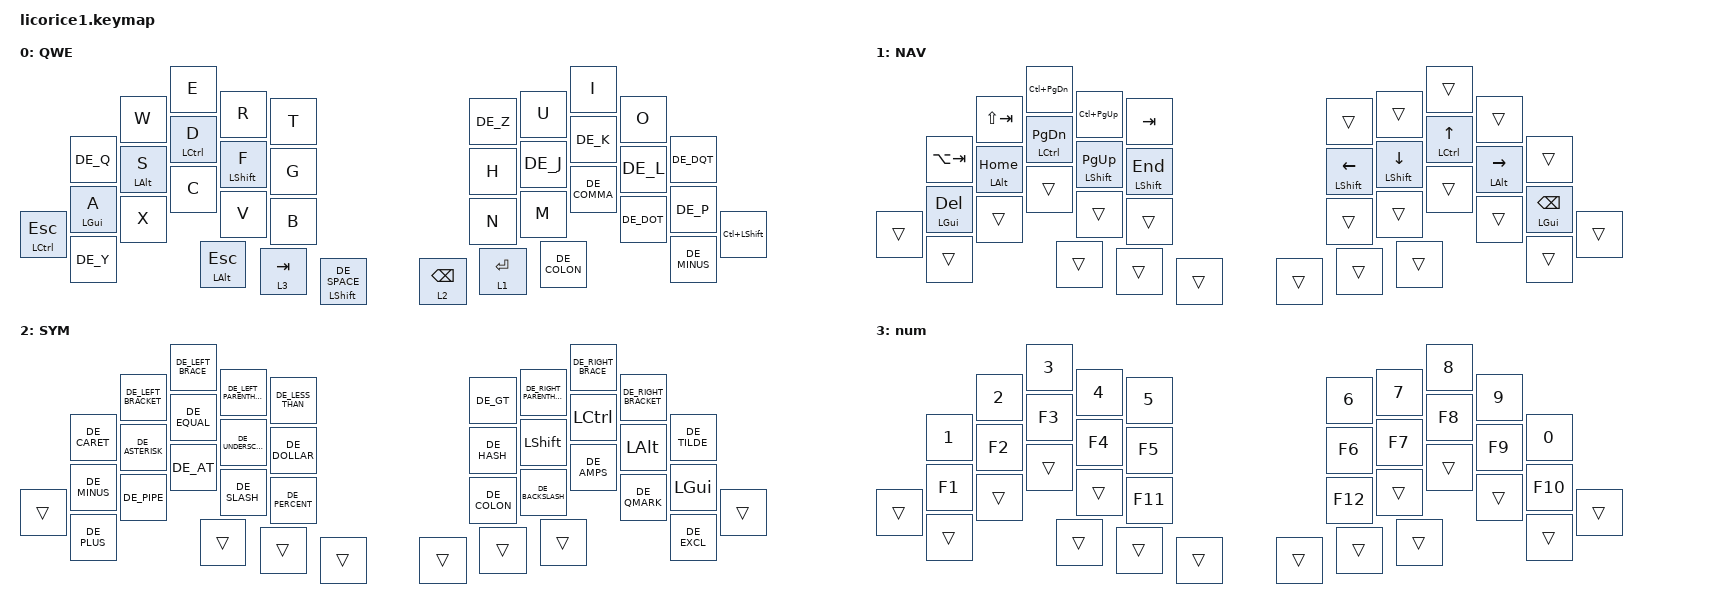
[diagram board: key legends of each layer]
// This file was generated from a template. Edit it to match your keyboard. test test
// See https://zmk.dev/docs/development/hardware-integration/new-shield for more instructions.

#include "keys_de.h"
#include <behaviors.dtsi>
#include <dt-bindings/zmk/bt.h>
#include <dt-bindings/zmk/keys.h>
#include <dt-bindings/zmk/outputs.h>
#include <dt-bindings/zmk/pointing.h>

&mt {
    flavor = "tap-preferred";
    bindings = <&kp>, <&kp>;

    tapping-term-ms = <250>;
    quick-tap-ms = <150>;
    require-prior-idle-ms = <125>;
};

&lt {
    quick-tap-ms = <200>;
    tapping-term-ms = <250>;
};

/ {
    // Define a default keymap here.
    // See https://zmk.dev/docs/development/hardware-integration/new-shield#default-keymap.

    combos {
        compatible = "zmk,combos";

        ae {
            bindings = <&kp DE_A_UMLAUT>;
            key-positions = <10 2>;
        };

        ue {
            bindings = <&kp DE_U_UMLAUT>;
            key-positions = <6 2>;
        };

        oe {
            bindings = <&kp DE_O_UMLAUT>;
            key-positions = <8 2>;
        };

        esc {
            bindings = <&kp ESCAPE>;
            key-positions = <20 31>;
        };

        boot {
            bindings = <&bootloader>;
            key-positions = <4 5 34 35>;
            require-prior-idle-ms = <500>;
        };

        colon {
            bindings = <&kp DE_COLON>;
            key-positions = <6 7>;
        };

        Show_l0 {
            timeout-ms = <100>;
            bindings = <&kp RA(RC(N0))>;
            key-positions = <31 5>;
            layers = <0>;
        };

        Show_l1 {
            timeout-ms = <100>;
            bindings = <&kp RA(RC(NUMBER_1))>;
            key-positions = <31 5>;
            layers = <2>;
        };

        Show_l2 {
            timeout-ms = <100>;
            bindings = <&kp RA(RC(NUMBER_2))>;
            key-positions = <31 5>;
            layers = <3>;
        };

    };

    behaviors {
        hml: hml {
            compatible = "zmk,behavior-hold-tap";
            label = "HML";
            bindings = <&kp>, <&kp>;

            #binding-cells = <2>;
            tapping-term-ms = <280>;
            quick-tap-ms = <175>;
            require-prior-idle-ms = <150>;
            flavor = "balanced";
            hold-trigger-on-release;
            hold-trigger-key-positions = <5 6 7 8 9 15 16 17 18 19 26 27 28 29 30 31 35 36 37>;
        };

        hmr: hmr {
            compatible = "zmk,behavior-hold-tap";
            label = "HMR";
            bindings = <&kp>, <&kp>;

            #binding-cells = <2>;
            tapping-term-ms = <280>;
            quick-tap-ms = <175>;
            require-prior-idle-ms = <150>;
            flavor = "balanced";
            hold-trigger-key-positions = <0 1 2 3 4 10 11 12 13 14 21 22 23 24 25 32 33 34 20>;
            hold-trigger-on-release;
        };

            back_del: back_del {
            compatible = "zmk,behavior-tap-dance";
            label = "BACK_DEL";
            #binding-cells = <0>;
            bindings = <&kp BACKSPACE>, <&kp DEL>;
        };    
    };

    keymap {
        compatible = "zmk,keymap";

        QWE {
            display-name = "QWE";
            bindings = <
                  &kp DE_Q     &kp W        &kp E                &kp R         &kp T                      &kp DE_Z         &kp U        &kp I         &kp O       &kp DE_DQT
                  &hml LGUI A  &hml LALT S  &hml LCTRL D         &hml LSHFT F  &kp G                      &kp H            &kp DE_J     &kp DE_K      &kp DE_L    &kp DE_P
&mt LCTRL ESCAPE  &kp DE_Y     &kp X        &kp C                &kp V         &kp B                      &kp N            &kp M        &kp DE_COMMA  &kp DE_DOT  &kp DE_MINUS  &kp LC(LEFT_SHIFT)
                                            &mt LEFT_ALT ESCAPE  &lt 3 TAB     &mt LEFT_SHIFT DE_SPACE    &lt 2 BACKSPACE  &lt 1 ENTER  &kp DE_COLON
            >;
        };

        NAV {
            display-name = "NAV";
            bindings = <
        &kp LA(TAB)           &kp LS(TAB)         &kp LC(PG_DN)         &kp LC(PG_UP)        &kp TAB                &trans                &trans                &trans         &trans               &trans
        &hml LEFT_GUI DELETE  &hml LEFT_ALT HOME  &hml LCTRL PAGE_DOWN  &hml LSHIFT PAGE_UP  &hml LEFT_SHIFT END    &hmr LEFT_SHIFT LEFT  &hmr LEFT_SHIFT DOWN  &hmr LCTRL UP  &hmr LEFT_ALT RIGHT  &hmr LEFT_GUI BACKSPACE
&trans  &trans                &trans              &trans                &trans               &trans                 &trans                &trans                &trans         &trans               &trans                   &trans
                                                  &trans                &trans               &trans                 &trans                &trans                &trans
            >;
        };

        SYM {
            display-name = "SYM";
            bindings = <
        &kp DE_CARET  &kp DE_LEFT_BRACKET  &kp DE_LEFT_BRACE  &kp DE_LEFT_PARENTHESIS  &kp DE_LESS_THAN    &kp DE_GT     &kp DE_RIGHT_PARENTHESIS  &kp DE_RIGHT_BRACE  &kp DE_RIGHT_BRACKET  &kp DE_TILDE
        &kp DE_MINUS  &kp DE_ASTERISK      &kp DE_EQUAL       &kp DE_UNDERSCORE        &kp DE_DOLLAR       &kp DE_HASH   &kp LEFT_SHIFT            &kp LCTRL           &kp LEFT_ALT          &kp LEFT_GUI
&trans  &kp DE_PLUS   &kp DE_PIPE          &kp DE_AT          &kp DE_SLASH             &kp DE_PERCENT      &kp DE_COLON  &kp DE_BACKSLASH          &kp DE_AMPS         &kp DE_QMARK          &kp DE_EXCL   &trans
                                           &trans             &trans                   &trans              &trans        &trans                    &trans
            >;
        };

        num {
            display-name = "num";
            bindings = <
        &kp N1  &kp N2  &kp N3  &kp N4  &kp N5     &kp N6   &kp N7  &kp N8  &kp N9  &kp N0
        &kp F1  &kp F2  &kp F3  &kp F4  &kp F5     &kp F6   &kp F7  &kp F8  &kp F9  &kp F10
&trans  &trans  &trans  &trans  &trans  &kp F11    &kp F12  &trans  &trans  &trans  &trans   &trans
                        &trans  &trans  &trans     &trans   &trans  &trans
            >;
        };

    };
};
